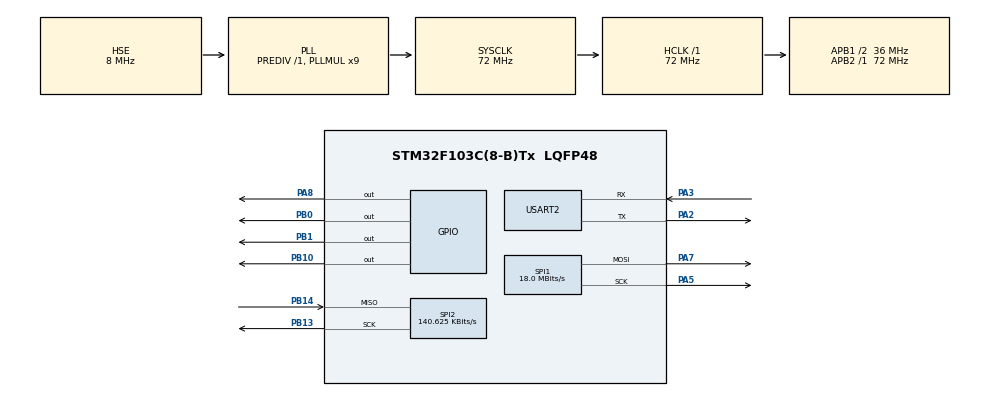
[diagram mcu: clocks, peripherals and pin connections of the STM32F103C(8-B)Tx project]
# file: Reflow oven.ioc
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Dma.Request0=SPI1_TX
Dma.SPI1_TX.0.Direction=DMA_MEMORY_TO_PERIPH
Dma.SPI1_TX.0.Instance=DMA1_Channel3
Dma.SPI1_TX.0.MemDataAlignment=DMA_MDATAALIGN_BYTE
Dma.SPI1_TX.0.MemInc=DMA_MINC_ENABLE
Dma.SPI1_TX.0.Mode=DMA_NORMAL
Dma.SPI1_TX.0.PeriphDataAlignment=DMA_PDATAALIGN_BYTE
Dma.SPI1_TX.0.PeriphInc=DMA_PINC_DISABLE
Dma.SPI1_TX.0.Priority=DMA_PRIORITY_LOW
Mcu.Family=STM32F1
Mcu.Name=STM32F103C(8-B)Tx
Mcu.Package=LQFP48
NVIC.DMA1_Channel3_IRQn=true\:0\:0\:false\:false\:true\:false\:true\:true
NVIC.PriorityGroup=NVIC_PRIORITYGROUP_4
NVIC.TIM4_IRQn=true\:0\:0\:false\:false\:true\:true\:true\:true
PA13.Mode=Serial_Wire
PA13.Signal=SYS_JTMS-SWDIO
PA14.Mode=Serial_Wire
PA14.Signal=SYS_JTCK-SWCLK
PA2.Mode=Asynchronous
PA2.Signal=USART2_TX
PA3.Mode=Asynchronous
PA3.Signal=USART2_RX
PA5.Mode=TX_Only_Simplex_Unidirect_Master
PA5.Signal=SPI1_SCK
PA7.Mode=TX_Only_Simplex_Unidirect_Master
PA7.Signal=SPI1_MOSI
PA8.Signal=GPIO_Output
PB0.Signal=GPIO_Output
PB1.Signal=GPIO_Output
PB10.Signal=GPIO_Output
PB13.Mode=RX_Only_Simplex_Unidirect_Master
PB13.Signal=SPI2_SCK
PB14.Mode=RX_Only_Simplex_Unidirect_Master
PB14.Signal=SPI2_MISO
PD0-OSC_IN.Mode=HSE-External-Oscillator
PD0-OSC_IN.Signal=RCC_OSC_IN
PD1-OSC_OUT.Mode=HSE-External-Oscillator
PD1-OSC_OUT.Signal=RCC_OSC_OUT
ProjectManager.HeapSize=0x200
ProjectManager.StackSize=0x400
ProjectManager.TargetToolchain=STM32CubeIDE
RCC.AHBFreq_Value=72000000
RCC.APB1CLKDivider=RCC_HCLK_DIV2
RCC.APB1Freq_Value=36000000
RCC.APB1TimFreq_Value=72000000
RCC.APB2Freq_Value=72000000
RCC.APB2TimFreq_Value=72000000
RCC.HCLKFreq_Value=72000000
RCC.PLLMUL=RCC_PLL_MUL9
RCC.PLLSourceVirtual=RCC_PLLSOURCE_HSE
RCC.SYSCLKFreq_VALUE=72000000
RCC.SYSCLKSource=RCC_SYSCLKSOURCE_PLLCLK
RCC.USBFreq_Value=72000000
SPI1.BaudRatePrescaler=SPI_BAUDRATEPRESCALER_4
SPI1.CalculateBaudRate=18.0 MBits/s
SPI1.Direction=SPI_DIRECTION_2LINES
SPI1.Mode=SPI_MODE_MASTER
SPI1.VirtualType=VM_MASTER
SPI2.BaudRatePrescaler=SPI_BAUDRATEPRESCALER_256
SPI2.CLKPhase=SPI_PHASE_2EDGE
SPI2.CalculateBaudRate=140.625 KBits/s
SPI2.DataSize=SPI_DATASIZE_8BIT
SPI2.Direction=SPI_DIRECTION_2LINES_RXONLY
SPI2.Mode=SPI_MODE_MASTER
SPI2.VirtualType=VM_MASTER
TIM4.AutoReloadPreload=TIM_AUTORELOAD_PRELOAD_DISABLE
TIM4.Period=9999-1
TIM4.Prescaler=7200-1
USART2.VirtualMode=VM_ASYNC
VP_TIM4_VS_ClockSourceINT.Mode=Internal
board=custom

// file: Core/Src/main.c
/* USER CODE BEGIN Header */
/**
  ******************************************************************************
  * @file           : main.c
  * @brief          : Main program body
  ******************************************************************************
  * @attention
  *
  * Copyright (c) 2024 STMicroelectronics.
  * All rights reserved.
  *
  * This software is licensed under terms that can be found in the LICENSE file
  * in the root directory of this software component.
  * If no LICENSE file comes with this software, it is provided AS-IS.
  *
  ******************************************************************************
  */
/* USER CODE END Header */
#include "main.h"

/* USER CODE BEGIN Includes */
#include "ILI9341_STM32_Driver.h"
#include "ILI9341_GFX.h"
#include "MAX31855.h"
#include <stdio.h>
#include <stdbool.h>
#include <math.h>
/* USER CODE END Includes */

SPI_HandleTypeDef hspi1;
SPI_HandleTypeDef hspi2;
DMA_HandleTypeDef hdma_spi1_tx;

TIM_HandleTypeDef htim4;

UART_HandleTypeDef huart2;

void SystemClock_Config(void);
static void MX_GPIO_Init(void);
static void MX_DMA_Init(void);
static void MX_USART2_UART_Init(void);
static void MX_SPI1_Init(void);
static void MX_SPI2_Init(void);
static void MX_TIM4_Init(void);
/* USER CODE BEGIN PFP */

int section_height = ILI9341_SCREEN_WIDTH/4;

/* USER CODE END PFP */

/* USER CODE BEGIN 0 */
int time_left_current_stage;

void HAL_TIM_PeriodElapsedCallback(TIM_HandleTypeDef *htim) {
//	Check which timer trigered the callback
	if (htim == &htim4) {
		if (time_left_current_stage > 0) {
			time_left_current_stage--;
		}
	}
}

void run_profile_section (struct s_profile_section profile_section, char section_title[7]) {
	time_left_current_stage = profile_section.time;
  ILI9341_FillScreen(BLACK);

//    	  Display the title block for the preheat screen
  char preheat_title[32];
	ILI9341_DrawRectangle(0, 0*section_height, ILI9341_SCREEN_HEIGHT, section_height, profile_section.bg_colour);
	sprintf(preheat_title, "%s - Target %dC", section_title, profile_section.temperature);
	ILI9341_DrawText (preheat_title, FONT4, 20, 0*section_height+(section_height-19)/2, profile_section.txt_colour, profile_section.bg_colour);

	while (time_left_current_stage > 0) {
		char remaining_time_str[8];
		sprintf(remaining_time_str, "%02i:%02i", (int) floor(time_left_current_stage/60), time_left_current_stage%60);
		ILI9341_DrawText (remaining_time_str, FONT4, 80, 100, WHITE, BLACK);
		char temp_str [32];
		HAL_Delay(250);
		MAX31855_Data data = MAX31855_ReadData();
	  if (data.fault == MAX31855_NO_FAULT) {
		  snprintf(temp_str, sizeof temp_str, "%.2f", data.temperature);
	  } else {
	  	snprintf(temp_str, sizeof temp_str, "Fault - %i", data.fault);
		}
	  ILI9341_DrawText(temp_str, FONT4, 80, 150, WHITE, BLACK);
	}

}
/* USER CODE END 0 */

int main(void)
{

  /* USER CODE BEGIN 1 */
	enum e_state current_state;
	current_state = splash;

	struct s_profile profile;
	profile.preheat.temperature = 180;
	profile.preheat.time = 20;
	profile.preheat.bg_colour = RED;
	profile.preheat.txt_colour = WHITE;
	profile.soak.temperature = 150;
	profile.soak.time = 15;
	profile.soak.bg_colour = ORANGE;
	profile.soak.txt_colour = WHITE;
	profile.reflow.temperature = 230;
	profile.reflow.time = 10;
	profile.reflow.bg_colour = CYAN;
	profile.reflow.txt_colour = BLACK;

	bool drawn = false;

  /* USER CODE END 1 */

  /* MCU Configuration--------------------------------------------------------*/

  /* Reset of all peripherals, Initializes the Flash interface and the Systick. */
  HAL_Init();

  /* Configure the system clock */
  SystemClock_Config();

  /* Initialize all configured peripherals */
  MX_GPIO_Init();
  MX_DMA_Init();
  MX_USART2_UART_Init();
  MX_SPI1_Init();
  MX_SPI2_Init();
  MX_TIM4_Init();
  /* USER CODE BEGIN 2 */
	ILI9341_Init();

	HAL_TIM_Base_Start_IT(&htim4);

//	__HAL_TIM_ENABLE_IT(&htim4, TIM_IT_UPDATE);
  /* USER CODE END 2 */

  /* Infinite loop */
  /* USER CODE BEGIN WHILE */
  while (1)
  {
  	// Draw the screens based on the current_state
  	if (current_state == splash) {
//  		ILI9341_SetRotation(SCREEN_HORIZONTAL_2);
  	  ILI9341_FillScreen(BLACK);
  	  ILI9341_DrawText("Solder Reflow Oven", FONT4, 5, 110, WHITE, BLACK);
  	  HAL_Delay(1000);
  	  current_state = homepage;
  	  drawn = false;
  	} else if (current_state == homepage) {
//  		Show the current profile on the home screen
  		if (!drawn) {
    	  ILI9341_FillScreen(BLACK);
				ILI9341_DrawRectangle(0, 0*section_height, ILI9341_SCREEN_HEIGHT, section_height, profile.preheat.bg_colour);
				ILI9341_DrawRectangle(0, 1*section_height, ILI9341_SCREEN_HEIGHT, section_height, profile.soak.bg_colour);
				ILI9341_DrawRectangle(0, 2*section_height, ILI9341_SCREEN_HEIGHT, section_height, profile.reflow.bg_colour);
//				Titles
				ILI9341_DrawText ("Preheat", FONT4, 20, 0*section_height+(section_height-19)/2, profile.preheat.txt_colour, profile.preheat.bg_colour);
				ILI9341_DrawText ("Soak", FONT4, 20, 1*section_height+(section_height-19)/2, profile.soak.txt_colour, profile.soak.bg_colour);
				ILI9341_DrawText ("Reflow", FONT4, 20, 2*section_height+(section_height-19)/2, profile.reflow.txt_colour, profile.reflow.bg_colour);

//				Temps
				char preheat_temp[5];
				sprintf(preheat_temp, "%3dC", profile.preheat.temperature);
				ILI9341_DrawText (preheat_temp, FONT4, 100, 0*section_height+(section_height-19)/2, profile.preheat.txt_colour, profile.preheat.bg_colour);
				char soak_temp[5];
				sprintf(soak_temp, "%3dC", profile.soak.temperature);
				ILI9341_DrawText (soak_temp, FONT4, 100, 1*section_height+(section_height-19)/2, profile.soak.txt_colour, profile.soak.bg_colour);
				char reflow_temp[5];
				sprintf(reflow_temp, "%3dC", profile.reflow.temperature);
				ILI9341_DrawText (reflow_temp, FONT4, 100, 2*section_height+(section_height-19)/2, profile.reflow.txt_colour, profile.reflow.bg_colour);

//				Times
				char preheat_time[8];
				sprintf(preheat_time, "%02i:%02i", (int) floor(profile.preheat.time/60), profile.preheat.time%60);
				ILI9341_DrawText (preheat_time, FONT4, 180, 0*section_height+(section_height-19)/2, profile.preheat.txt_colour, profile.preheat.bg_colour);
				char soak_time[8];
				sprintf(soak_time, "%02i:%02i", (int) floor(profile.soak.time/60), profile.soak.time%60);
				ILI9341_DrawText (soak_time, FONT4, 180, 1*section_height+(section_height-19)/2, profile.soak.txt_colour, profile.soak.bg_colour);
				char reflow_time[8];
				sprintf(reflow_time, "%02i:%02i", (int) floor(profile.reflow.time/60), profile.reflow.time%60);
				ILI9341_DrawText (reflow_time, FONT4, 180, 2*section_height+(section_height-19)/2, profile.reflow.txt_colour, profile.reflow.bg_colour);

				drawn = true;

//				Debug to switch to next screen - will use a button in due course
				HAL_Delay(2000);
				current_state = preheat;
				drawn = false;

  		}
  	}else if (current_state == preheat) {
			run_profile_section(profile.preheat, "Preheat");
			current_state = soak;

  	} else if (current_state == soak) {
			run_profile_section(profile.soak, "Soak");
			current_state = reflow;

  	} else if (current_state == reflow) {
			run_profile_section(profile.reflow, "Reflow");
			current_state = homepage;

  	}else {
  	  ILI9341_FillScreen(WHITE);
  	  HAL_Delay(100);
  	  char str2 [32];
  	  MAX31855_Data data = MAX31855_ReadData();
  	  if (data.fault == MAX31855_NO_FAULT) {
  		  snprintf(str2, sizeof str2, "Int: %.2f Ext: %.2f", data.internalTemperature, data.temperature);
  	  } else {
  	  	snprintf(str2, sizeof str2, "Fault - %i", data.fault);
			}
  	  ILI9341_DrawText(str2, FONT4, 5, 110, BLACK, WHITE);
  	  HAL_Delay(500);
  	}

    /* USER CODE END WHILE */

  }
}

void SystemClock_Config(void)
{
  RCC_OscInitTypeDef RCC_OscInitStruct = {0};
  RCC_ClkInitTypeDef RCC_ClkInitStruct = {0};

  /** Initializes the RCC Oscillators according to the specified parameters
  * in the RCC_OscInitTypeDef structure.
  */
  RCC_OscInitStruct.OscillatorType = RCC_OSCILLATORTYPE_HSE;
  RCC_OscInitStruct.HSEState = RCC_HSE_ON;
  RCC_OscInitStruct.HSEPredivValue = RCC_HSE_PREDIV_DIV1;
  RCC_OscInitStruct.HSIState = RCC_HSI_ON;
  RCC_OscInitStruct.PLL.PLLState = RCC_PLL_ON;
  RCC_OscInitStruct.PLL.PLLSource = RCC_PLLSOURCE_HSE;
  RCC_OscInitStruct.PLL.PLLMUL = RCC_PLL_MUL9;
  if (HAL_RCC_OscConfig(&RCC_OscInitStruct) != HAL_OK)
  {
    Error_Handler();
  }

  /** Initializes the CPU, AHB and APB buses clocks
  */
  RCC_ClkInitStruct.ClockType = RCC_CLOCKTYPE_HCLK|RCC_CLOCKTYPE_SYSCLK
                              |RCC_CLOCKTYPE_PCLK1|RCC_CLOCKTYPE_PCLK2;
  RCC_ClkInitStruct.SYSCLKSource = RCC_SYSCLKSOURCE_PLLCLK;
  RCC_ClkInitStruct.AHBCLKDivider = RCC_SYSCLK_DIV1;
  RCC_ClkInitStruct.APB1CLKDivider = RCC_HCLK_DIV2;
  RCC_ClkInitStruct.APB2CLKDivider = RCC_HCLK_DIV1;

  if (HAL_RCC_ClockConfig(&RCC_ClkInitStruct, FLASH_LATENCY_2) != HAL_OK)
  {
    Error_Handler();
  }
}

static void MX_SPI1_Init(void)
{

  /* SPI1 parameter configuration*/
  hspi1.Instance = SPI1;
  hspi1.Init.Mode = SPI_MODE_MASTER;
  hspi1.Init.Direction = SPI_DIRECTION_2LINES;
  hspi1.Init.DataSize = SPI_DATASIZE_8BIT;
  hspi1.Init.CLKPolarity = SPI_POLARITY_LOW;
  hspi1.Init.CLKPhase = SPI_PHASE_1EDGE;
  hspi1.Init.NSS = SPI_NSS_SOFT;
  hspi1.Init.BaudRatePrescaler = SPI_BAUDRATEPRESCALER_4;
  hspi1.Init.FirstBit = SPI_FIRSTBIT_MSB;
  hspi1.Init.TIMode = SPI_TIMODE_DISABLE;
  hspi1.Init.CRCCalculation = SPI_CRCCALCULATION_DISABLE;
  hspi1.Init.CRCPolynomial = 10;
  if (HAL_SPI_Init(&hspi1) != HAL_OK)
  {
    Error_Handler();
  }

}

static void MX_SPI2_Init(void)
{

  /* SPI2 parameter configuration*/
  hspi2.Instance = SPI2;
  hspi2.Init.Mode = SPI_MODE_MASTER;
  hspi2.Init.Direction = SPI_DIRECTION_2LINES_RXONLY;
  hspi2.Init.DataSize = SPI_DATASIZE_8BIT;
  hspi2.Init.CLKPolarity = SPI_POLARITY_LOW;
  hspi2.Init.CLKPhase = SPI_PHASE_2EDGE;
  hspi2.Init.NSS = SPI_NSS_SOFT;
  hspi2.Init.BaudRatePrescaler = SPI_BAUDRATEPRESCALER_256;
  hspi2.Init.FirstBit = SPI_FIRSTBIT_MSB;
  hspi2.Init.TIMode = SPI_TIMODE_DISABLE;
  hspi2.Init.CRCCalculation = SPI_CRCCALCULATION_DISABLE;
  hspi2.Init.CRCPolynomial = 10;
  if (HAL_SPI_Init(&hspi2) != HAL_OK)
  {
    Error_Handler();
  }

}

static void MX_TIM4_Init(void)
{

  TIM_ClockConfigTypeDef sClockSourceConfig = {0};
  TIM_MasterConfigTypeDef sMasterConfig = {0};

  htim4.Instance = TIM4;
  htim4.Init.Prescaler = 7200-1;
  htim4.Init.CounterMode = TIM_COUNTERMODE_UP;
  htim4.Init.Period = 9999-1;
  htim4.Init.ClockDivision = TIM_CLOCKDIVISION_DIV1;
  htim4.Init.AutoReloadPreload = TIM_AUTORELOAD_PRELOAD_DISABLE;
  if (HAL_TIM_Base_Init(&htim4) != HAL_OK)
  {
    Error_Handler();
  }
  sClockSourceConfig.ClockSource = TIM_CLOCKSOURCE_INTERNAL;
  if (HAL_TIM_ConfigClockSource(&htim4, &sClockSourceConfig) != HAL_OK)
  {
    Error_Handler();
  }
  sMasterConfig.MasterOutputTrigger = TIM_TRGO_RESET;
  sMasterConfig.MasterSlaveMode = TIM_MASTERSLAVEMODE_DISABLE;
  if (HAL_TIMEx_MasterConfigSynchronization(&htim4, &sMasterConfig) != HAL_OK)
  {
    Error_Handler();
  }

}

static void MX_USART2_UART_Init(void)
{

  huart2.Instance = USART2;
  huart2.Init.BaudRate = 115200;
  huart2.Init.WordLength = UART_WORDLENGTH_8B;
  huart2.Init.StopBits = UART_STOPBITS_1;
  huart2.Init.Parity = UART_PARITY_NONE;
  huart2.Init.Mode = UART_MODE_TX_RX;
  huart2.Init.HwFlowCtl = UART_HWCONTROL_NONE;
  huart2.Init.OverSampling = UART_OVERSAMPLING_16;
  if (HAL_UART_Init(&huart2) != HAL_OK)
  {
    Error_Handler();
  }

}

static void MX_DMA_Init(void)
{

  /* DMA controller clock enable */
  __HAL_RCC_DMA1_CLK_ENABLE();

  /* DMA interrupt init */
  /* DMA1_Channel3_IRQn interrupt configuration */
  HAL_NVIC_SetPriority(DMA1_Channel3_IRQn, 0, 0);
  HAL_NVIC_EnableIRQ(DMA1_Channel3_IRQn);

}

static void MX_GPIO_Init(void)
{
  GPIO_InitTypeDef GPIO_InitStruct = {0};

  /* GPIO Ports Clock Enable */
  __HAL_RCC_GPIOD_CLK_ENABLE();
  __HAL_RCC_GPIOA_CLK_ENABLE();
  __HAL_RCC_GPIOB_CLK_ENABLE();

  /*Configure GPIO pin Output Level */
  HAL_GPIO_WritePin(GPIOB, GPIO_PIN_0|GPIO_PIN_1|GPIO_PIN_10, GPIO_PIN_RESET);

  /*Configure GPIO pin Output Level */
  HAL_GPIO_WritePin(GPIOA, GPIO_PIN_8, GPIO_PIN_RESET);

  /*Configure GPIO pins : PB0 PB1 PB10 */
  GPIO_InitStruct.Pin = GPIO_PIN_0|GPIO_PIN_1|GPIO_PIN_10;
  GPIO_InitStruct.Mode = GPIO_MODE_OUTPUT_PP;
  GPIO_InitStruct.Pull = GPIO_NOPULL;
  GPIO_InitStruct.Speed = GPIO_SPEED_FREQ_LOW;
  HAL_GPIO_Init(GPIOB, &GPIO_InitStruct);

  /*Configure GPIO pin : PA8 */
  GPIO_InitStruct.Pin = GPIO_PIN_8;
  GPIO_InitStruct.Mode = GPIO_MODE_OUTPUT_PP;
  GPIO_InitStruct.Pull = GPIO_NOPULL;
  GPIO_InitStruct.Speed = GPIO_SPEED_FREQ_LOW;
  HAL_GPIO_Init(GPIOA, &GPIO_InitStruct);

}

void Error_Handler(void)
{
  __disable_irq();
  while (1)
  {
  }
}
